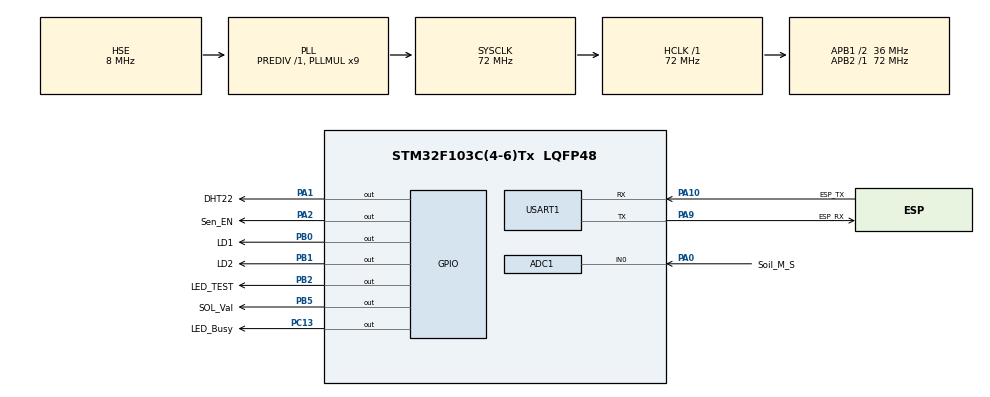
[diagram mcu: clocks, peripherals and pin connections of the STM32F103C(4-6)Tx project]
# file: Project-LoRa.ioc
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ADC1.Channel-0\#ChannelRegularConversion=ADC_CHANNEL_0
ADC1.ExternalTrigConv=ADC_EXTERNALTRIGCONV_T3_TRGO
ADC1.NbrOfConversionFlag=1
ADC1.Rank-0\#ChannelRegularConversion=1
ADC1.SamplingTime-0\#ChannelRegularConversion=ADC_SAMPLETIME_28CYCLES_5
ADC1.master=1
Dma.ADC1.0.Direction=DMA_PERIPH_TO_MEMORY
Dma.ADC1.0.Instance=DMA1_Channel1
Dma.ADC1.0.MemDataAlignment=DMA_MDATAALIGN_HALFWORD
Dma.ADC1.0.MemInc=DMA_MINC_ENABLE
Dma.ADC1.0.Mode=DMA_CIRCULAR
Dma.ADC1.0.PeriphDataAlignment=DMA_PDATAALIGN_HALFWORD
Dma.ADC1.0.PeriphInc=DMA_PINC_DISABLE
Dma.ADC1.0.Priority=DMA_PRIORITY_HIGH
Dma.Request0=ADC1
Dma.Request1=USART1_TX
Dma.USART1_TX.1.Direction=DMA_MEMORY_TO_PERIPH
Dma.USART1_TX.1.Instance=DMA1_Channel4
Dma.USART1_TX.1.MemDataAlignment=DMA_MDATAALIGN_BYTE
Dma.USART1_TX.1.MemInc=DMA_MINC_ENABLE
Dma.USART1_TX.1.Mode=DMA_NORMAL
Dma.USART1_TX.1.PeriphDataAlignment=DMA_PDATAALIGN_BYTE
Dma.USART1_TX.1.PeriphInc=DMA_PINC_DISABLE
Dma.USART1_TX.1.Priority=DMA_PRIORITY_LOW
Mcu.Family=STM32F1
Mcu.Name=STM32F103C(4-6)Tx
Mcu.Package=LQFP48
NVIC.DMA1_Channel1_IRQn=true\:0\:0\:false\:false\:true\:false\:true\:true
NVIC.DMA1_Channel4_IRQn=true\:0\:0\:false\:false\:true\:false\:true\:true
NVIC.PriorityGroup=NVIC_PRIORITYGROUP_4
NVIC.TIM3_IRQn=true\:0\:0\:false\:false\:true\:true\:true\:true
NVIC.USART1_IRQn=true\:0\:0\:false\:false\:true\:true\:true\:true
PA0-WKUP.GPIO_Label=Soil_M_S
PA0-WKUP.Signal=ADCx_IN0
PA1.GPIO_Label=DHT22
PA1.GPIO_ModeDefaultOutputPP=GPIO_MODE_OUTPUT_PP
PA1.GPIO_PuPd=GPIO_NOPULL
PA1.GPIO_Speed=GPIO_SPEED_FREQ_LOW
PA1.PinState=GPIO_PIN_RESET
PA1.Signal=GPIO_Output
PA10.GPIO_Label=ESP_TX
PA10.Mode=Asynchronous
PA10.Signal=USART1_RX
PA13.Mode=Serial_Wire
PA13.Signal=SYS_JTMS-SWDIO
PA14.Mode=Serial_Wire
PA14.Signal=SYS_JTCK-SWCLK
PA2.GPIO_Label=Sen_EN
PA2.Signal=GPIO_Output
PA9.GPIO_Label=ESP_RX
PA9.Mode=Asynchronous
PA9.Signal=USART1_TX
PB0.GPIO_Label=LD1
PB0.Signal=GPIO_Output
PB1.GPIO_Label=LD2
PB1.Signal=GPIO_Output
PB2.GPIO_Label=LED_TEST
PB2.Signal=GPIO_Output
PB5.GPIO_Label=SOL_Val
PB5.Signal=GPIO_Output
PC13-TAMPER-RTC.GPIO_Label=LED_Busy
PC13-TAMPER-RTC.Signal=GPIO_Output
PC14-OSC32_IN.Mode=LSE-External-Oscillator
PC14-OSC32_IN.Signal=RCC_OSC32_IN
PC15-OSC32_OUT.Mode=LSE-External-Oscillator
PC15-OSC32_OUT.Signal=RCC_OSC32_OUT
PD0-OSC_IN.Mode=HSE-External-Oscillator
PD0-OSC_IN.Signal=RCC_OSC_IN
PD1-OSC_OUT.Mode=HSE-External-Oscillator
PD1-OSC_OUT.Signal=RCC_OSC_OUT
ProjectManager.HeapSize=0x200
ProjectManager.StackSize=0x400
ProjectManager.TargetToolchain=MDK-ARM V5.27
RCC.ADCPresc=RCC_ADCPCLK2_DIV6
RCC.AHBFreq_Value=72000000
RCC.APB1CLKDivider=RCC_HCLK_DIV2
RCC.APB1Freq_Value=36000000
RCC.APB1TimFreq_Value=72000000
RCC.APB2Freq_Value=72000000
RCC.APB2TimFreq_Value=72000000
RCC.HCLKFreq_Value=72000000
RCC.PLLMUL=RCC_PLL_MUL9
RCC.PLLSourceVirtual=RCC_PLLSOURCE_HSE
RCC.SYSCLKFreq_VALUE=72000000
RCC.SYSCLKSource=RCC_SYSCLKSOURCE_PLLCLK
RCC.USBFreq_Value=72000000
SH.ADCx_IN0.0=ADC1_IN0,IN0
TIM3.ClockDivision=TIM_CLOCKDIVISION_DIV1
TIM3.Period=36000
TIM3.Prescaler=20000
TIM3.TIM_MasterOutputTrigger=TIM_TRGO_UPDATE
USART1.VirtualMode=VM_ASYNC
VP_TIM3_VS_ClockSourceINT.Mode=Internal
board=custom

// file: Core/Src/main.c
/* USER CODE BEGIN Header */
/**
  ******************************************************************************
  * @file           : main.c
  * @brief          : Main program body
  ******************************************************************************
  * @attention
  *
  * <h2><center>&copy; Copyright (c) 2021 STMicroelectronics.
  * All rights reserved.</center></h2>
  *
  * This software component is licensed by ST under BSD 3-Clause license,
  * the "License"; You may not use this file except in compliance with the
  * License. You may obtain a copy of the License at:
  *                        opensource.org/licenses/BSD-3-Clause
  *
  ******************************************************************************
  */
/* USER CODE END Header */
#include "main.h"
#include "adc.h"
#include "dma.h"
#include "tim.h"
#include "usart.h"
#include "gpio.h"

/* USER CODE BEGIN Includes */
#include "DHT.h"
#include "string.h"
#include "stdio.h"
/* USER CODE END Includes */

/* USER CODE BEGIN PTD */
DHT_DataTypedef DHT11_Data;
/* USER CODE END PTD */

/* USER CODE BEGIN PV */
uint8_t uartTx[25] = "MACE LORA";
uint8_t uartRx[25];
char buf [250] = "HELLO ESP";
int len;
uint8_t updateFlag = 0,updateCount = 0;

//###### Sensor Related variables ##########
float Temperature, Humidity;
unsigned int sensor_analog[1];
float moisture_percentage;

/* USER CODE END PV */

void SystemClock_Config(void);
/* USER CODE BEGIN PFP */
extern void DHT_Start(void);
/* USER CODE END PFP */

/* USER CODE BEGIN 0 */

void updateESP(){
	HAL_GPIO_WritePin(Sen_EN_GPIO_Port,Sen_EN_Pin,GPIO_PIN_RESET);
	HAL_GPIO_TogglePin(LED_Busy_GPIO_Port,LED_Busy_Pin);

	sprintf(buf, "{\"T\":%.2f,\"H\":%.2f,\"M\":%.2f}", Temperature,Humidity,moisture_percentage);
	len = strlen(buf);
	HAL_UART_Transmit_DMA(&huart1,(uint8_t *) buf,len);
}
/* USER CODE END 0 */

int main(void)
{

  /* MCU Configuration--------------------------------------------------------*/

  /* Reset of all peripherals, Initializes the Flash interface and the Systick. */
  HAL_Init();

  /* Configure the system clock */
  SystemClock_Config();

  /* Initialize all configured peripherals */
  MX_GPIO_Init();
  MX_DMA_Init();
  MX_ADC1_Init();
  MX_USART1_UART_Init();
  MX_TIM3_Init();
  /* USER CODE BEGIN 2 */
	DHT_Start();

	HAL_TIM_Base_Start_IT(&htim3);
	HAL_UART_Receive_IT(&huart1,uartRx,4);																// Enable USART Receive Interrut

  /* USER CODE END 2 */

  /* Infinite loop */
  while (1)
  {

    /* USER CODE BEGIN 3 */

		if(updateCount)
		{
			//#### warm up delay sub
			HAL_GPIO_TogglePin(LED_Busy_GPIO_Port,LED_Busy_Pin);							// Toggle BUSY PIN
			HAL_GPIO_WritePin(Sen_EN_GPIO_Port,Sen_EN_Pin,GPIO_PIN_RESET);		// Power-up Sensors

			updateCount--;																										// Decrement Count
			HAL_GPIO_TogglePin(LD1_GPIO_Port,LD1_Pin);
			if(updateCount==1)																								// Start Data Processing Procedure
			{
				DHT_GetData(&DHT11_Data);																				// Read Data From DHT
				Temperature = DHT11_Data.Temperature*0.1f;
			  Humidity = DHT11_Data.Humidity*0.1f;
			  moisture_percentage = ( 100 - ( (sensor_analog[0]/4095.00) * 100 ) );
			  sprintf(buf, "{\"T\":%.2f,\"H\":%.2f,\"M\":%.2f}", Temperature,Humidity,moisture_percentage); // Convert all parameters to a json String
				len = strlen(buf);																							// Get total Length of the string
				HAL_UART_Transmit(&huart1,(uint8_t *) buf,len,100);							// Transmit String using usart
			}
			else if( updateCount == 0 )																				// Start Sleep Procedure
			{
				HAL_GPIO_WritePin(Sen_EN_GPIO_Port,Sen_EN_Pin,GPIO_PIN_SET);
				// Enable Sleep Till next Tim3 Interrupt
				HAL_PWR_EnterSLEEPMode(PWR_MAINREGULATOR_ON, PWR_SLEEPENTRY_WFI);
			}
		}
		HAL_Delay(25);
  }
  /* USER CODE END 3 */
}

void SystemClock_Config(void)
{
  RCC_OscInitTypeDef RCC_OscInitStruct = {0};
  RCC_ClkInitTypeDef RCC_ClkInitStruct = {0};
  RCC_PeriphCLKInitTypeDef PeriphClkInit = {0};

  /** Initializes the RCC Oscillators according to the specified parameters
  * in the RCC_OscInitTypeDef structure.
  */
  RCC_OscInitStruct.OscillatorType = RCC_OSCILLATORTYPE_HSE;
  RCC_OscInitStruct.HSEState = RCC_HSE_ON;
  RCC_OscInitStruct.HSEPredivValue = RCC_HSE_PREDIV_DIV1;
  RCC_OscInitStruct.HSIState = RCC_HSI_ON;
  RCC_OscInitStruct.PLL.PLLState = RCC_PLL_ON;
  RCC_OscInitStruct.PLL.PLLSource = RCC_PLLSOURCE_HSE;
  RCC_OscInitStruct.PLL.PLLMUL = RCC_PLL_MUL9;
  if (HAL_RCC_OscConfig(&RCC_OscInitStruct) != HAL_OK)
  {
    Error_Handler();
  }

  /** Initializes the CPU, AHB and APB buses clocks
  */
  RCC_ClkInitStruct.ClockType = RCC_CLOCKTYPE_HCLK|RCC_CLOCKTYPE_SYSCLK
                              |RCC_CLOCKTYPE_PCLK1|RCC_CLOCKTYPE_PCLK2;
  RCC_ClkInitStruct.SYSCLKSource = RCC_SYSCLKSOURCE_PLLCLK;
  RCC_ClkInitStruct.AHBCLKDivider = RCC_SYSCLK_DIV1;
  RCC_ClkInitStruct.APB1CLKDivider = RCC_HCLK_DIV2;
  RCC_ClkInitStruct.APB2CLKDivider = RCC_HCLK_DIV1;

  if (HAL_RCC_ClockConfig(&RCC_ClkInitStruct, FLASH_LATENCY_2) != HAL_OK)
  {
    Error_Handler();
  }
  PeriphClkInit.PeriphClockSelection = RCC_PERIPHCLK_ADC;
  PeriphClkInit.AdcClockSelection = RCC_ADCPCLK2_DIV6;
  if (HAL_RCCEx_PeriphCLKConfig(&PeriphClkInit) != HAL_OK)
  {
    Error_Handler();
  }
}

void Error_Handler(void)
{
  __disable_irq();
  while (1)
  {
  }
}
